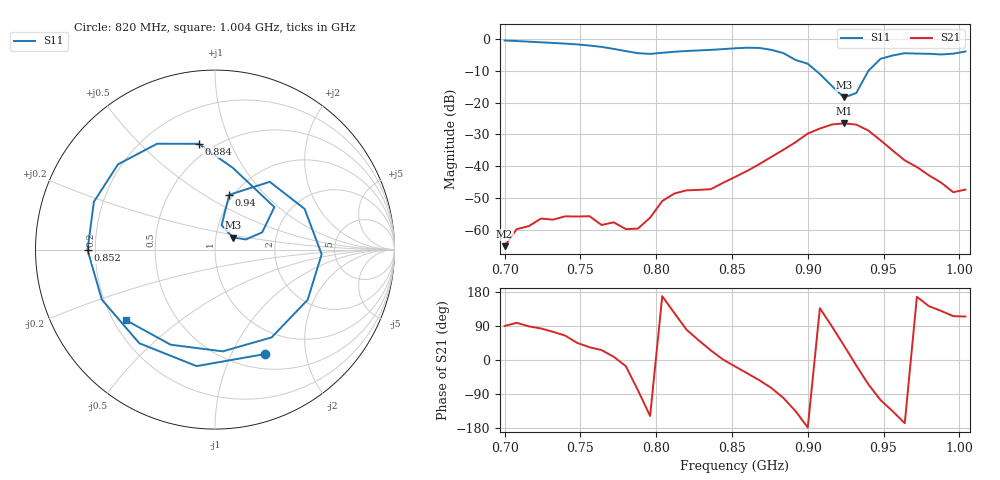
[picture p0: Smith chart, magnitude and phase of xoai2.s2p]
# Hz S RI R 50
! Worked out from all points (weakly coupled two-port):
!   39 points, 700 MHz to 1.004 GHz, reference 50 ohm
!   highest |S21| = -26.51 dB at 924 MHz (marker M1); lowest = -65.0 dB at 700 MHz (marker M2)
!   lowest |S11| = -18.4 dB at 924 MHz (marker M3), VSWR 1.27, Z = 60.5 + j8.27 ohm
!   |S11| at or under -10 dB: 905.4 MHz to 940 MHz (34.63 MHz wide, 3.75 % of centre)
!   S12 and S22 are empty: the file has one direction only
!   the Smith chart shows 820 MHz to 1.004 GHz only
!   S11 on the Smith chart (normalised r, x): 820 MHz: 0.68, -1.36; 852 MHz: 0.17, -0.00; 884 MHz: 0.42, +0.77; 940 MHz: 0.96, +0.65; 1.004 GHz: 0.25, -0.33
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7e8  0.7643 0.5516  2.43e-06 0.000561  0 0  0 0
7.24e8  0.8447 -0.2497  0.000182 0.00151  0 0  0 0
7.4e8  0.4583 -0.705  0.000715 0.00149  0 0  0 0
7.56e8  -0.1919 -0.7604  0.00138 0.000919  0 0  0 0
7.72e8  -0.6642 -0.2043  0.00131 0.000195  0 0  0 0
7.8e8  -0.6019 0.2219  0.000997 -0.000293  0 0  0 0
7.88e8  -0.2541 0.5381  0.000181 -0.00105  0 0  0 0
7.96e8  0.2349 0.531  -0.00133 -0.000837  0 0  0 0
8.04e8  0.5758 0.1807  -0.00281 0.000574  0 0  0 0
8.2e8  0.2787 -0.5818  0.000729 0.00414  0 0  0 0
8.36e8  -0.4214 -0.522  0.00396 0.00189  0 0  0 0
8.52e8  -0.7101 -0.00261  0.00653 -0.00198  0 0  0 0
8.68e8  -0.5404 0.475  0.0065 -0.00868  0 0  0 0
8.84e8  -0.0914 0.5894  -0.00327 -0.018  0 0  0 0
9e8  0.3308 0.2366  -0.0327 -0.00104  0 0  0 0
9.08e8  0.2632 0.0965  -0.0285 0.0269  0 0  0 0
9.24e8  0.0997 0.0674  0.0375 0.0288  0 0  0 0
9.4e8  0.0793 0.3053  0.0158 -0.0328  0 0  0 0
9.56e8  0.4992 0.227  -0.0126 -0.0125  0 0  0 0
9.64e8  0.5941 -0.0263  -0.0121 -0.00283  0 0  0 0
9.8e8  0.3156 -0.4889  -0.00568 0.00446  0 0  0 0
1.004e9  -0.495 -0.394  -0.00181 0.00393  0 0  0 0
